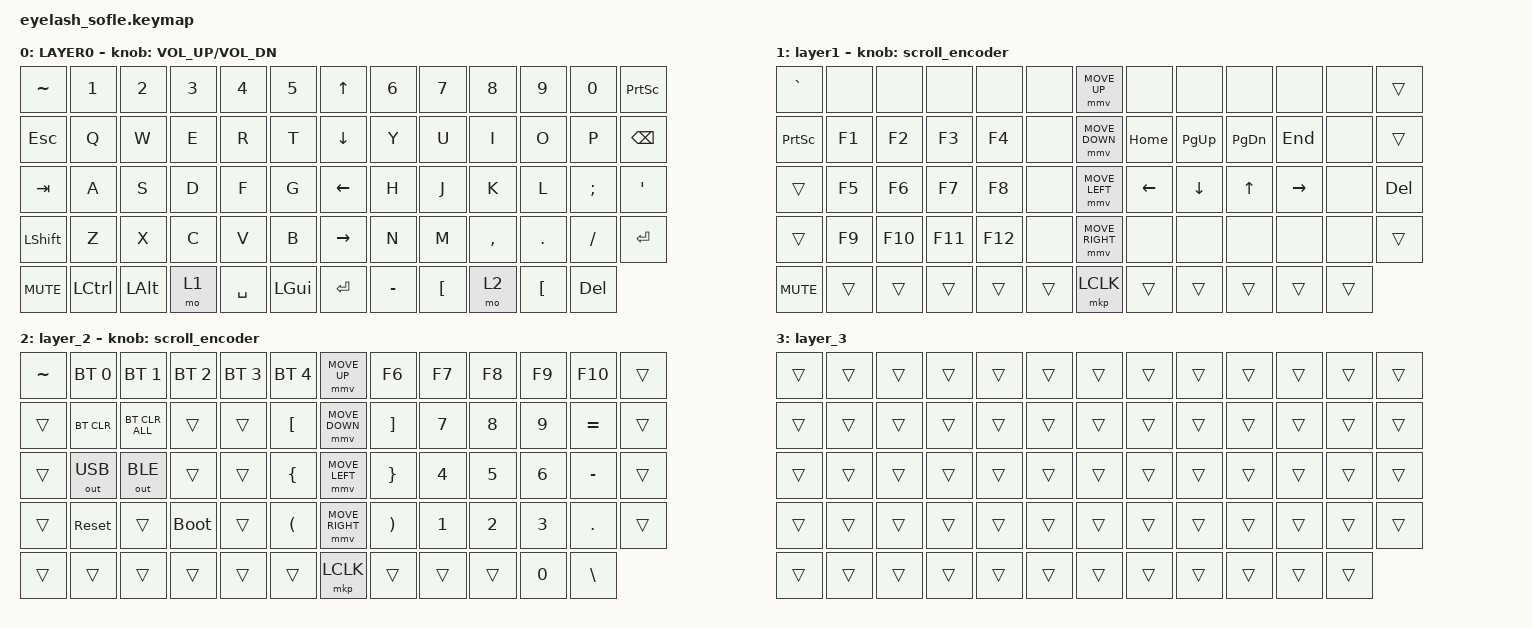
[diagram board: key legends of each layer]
#define ZMK_POINTING_DEFAULT_MOVE_VAL 1200  // 600
#define ZMK_POINTING_DEFAULT_SCRL_VAL 25   // 10

#include <input/processors.dtsi>
#include <zephyr/dt-bindings/input/input-event-codes.h>
#include <behaviors.dtsi>
#include <dt-bindings/zmk/bt.h>
#include <dt-bindings/zmk/keys.h>
#include <dt-bindings/zmk/outputs.h>
#include <dt-bindings/zmk/pointing.h>

&mmv_input_listener { input-processors = <&zip_xy_scaler 2 1>; };

&msc_input_listener { input-processors = <&zip_scroll_scaler 2 1>; };

&msc {
    acceleration-exponent = <1>;      // 0
    time-to-max-speed-ms = <100>;       // 300
    delay-ms = <0>;                   // 0
};

&mmv {
    time-to-max-speed-ms = <500>;
    acceleration-exponent = <1>;
    trigger-period-ms = <16>;
};

/ {
    scroll_encoder: scroll_encoder {
        compatible = "zmk,behavior-sensor-rotate";
        #sensor-binding-cells = <0>;
        bindings = <&msc SCRL_DOWN>, <&msc SCRL_UP>;

        tap-ms = <100>;
    };

    behaviors {
    };

    keymap {
        compatible = "zmk,keymap";

        layer0 {
            bindings = <
&kp TILDE   &kp N1     &kp N2        &kp N3  &kp N4     &kp N5          &kp UP_ARROW     &kp N6     &kp N7            &kp N8     &kp N9            &kp N0      &kp PRINTSCREEN
&kp ESC     &kp Q      &kp W         &kp E   &kp R      &kp T           &kp DOWN_ARROW   &kp Y      &kp U             &kp I      &kp O             &kp P       &kp BACKSPACE
&kp TAB     &kp A      &kp S         &kp D   &kp F      &kp G           &kp LEFT_ARROW   &kp H      &kp J             &kp K      &kp L             &kp SEMI    &kp APOS
&kp LSHFT   &kp Z      &kp X         &kp C   &kp V      &kp B           &kp RIGHT_ARROW  &kp N      &kp M             &kp COMMA  &kp DOT           &kp FSLH    &kp ENTER
&kp C_MUTE  &kp LCTRL  &kp LEFT_ALT  &mo 1   &kp SPACE  &kp LEFT_GUI    &kp ENTER        &kp MINUS  &kp LEFT_BRACKET  &mo 2      &kp LEFT_BRACKET  &kp DELETE
            >;

            sensor-bindings = <&inc_dec_kp C_VOLUME_UP C_VOL_DN>;
            display-name = "LAYER0";
        };

        layer_1 {
            bindings = <
&kp GRAVE        &none   &none    &none    &none    &none     &mmv MOVE_UP     &none     &none      &none          &none      &none   &trans
&kp PRINTSCREEN  &kp F1  &kp F2   &kp F3   &kp F4   &none     &mmv MOVE_DOWN   &kp HOME  &kp PG_UP  &kp PAGE_DOWN  &kp END    &none   &trans
&trans           &kp F5  &kp F6   &kp F7   &kp F8   &none     &mmv MOVE_LEFT   &kp LEFT  &kp DOWN   &kp UP_ARROW   &kp RIGHT  &none   &kp DEL
&trans           &kp F9  &kp F10  &kp F11  &kp F12  &none     &mmv MOVE_RIGHT  &none     &none      &none          &none      &none   &trans
&kp C_MUTE       &trans  &trans   &trans   &trans   &trans    &mkp LCLK        &trans    &trans     &trans         &trans     &trans
            >;

            display-name = "layer1";
            sensor-bindings = <&scroll_encoder>;
        };

        layer_2 {
            bindings = <
&kp TILDE  &bt BT_SEL 0  &bt BT_SEL 1    &bt BT_SEL 2  &bt BT_SEL 3  &bt BT_SEL 4            &mmv MOVE_UP     &kp F6                 &kp F7        &kp F8        &kp F9        &kp F10        &trans
&trans     &bt BT_CLR    &bt BT_CLR_ALL  &trans        &trans        &kp LEFT_BRACKET        &mmv MOVE_DOWN   &kp RIGHT_BRACKET      &kp NUMBER_7  &kp NUMBER_8  &kp NUMBER_9  &kp EQUAL      &trans
&trans     &out OUT_USB  &out OUT_BLE    &trans        &trans        &kp LEFT_BRACE          &mmv MOVE_LEFT   &kp RIGHT_BRACE        &kp NUMBER_4  &kp NUMBER_5  &kp NUMBER_6  &kp MINUS      &trans
&trans     &sys_reset    &trans          &bootloader   &trans        &kp LEFT_PARENTHESIS    &mmv MOVE_RIGHT  &kp RIGHT_PARENTHESIS  &kp NUMBER_1  &kp NUMBER_2  &kp NUMBER_3  &kp PERIOD     &trans
&trans     &trans        &trans          &trans        &trans        &trans                  &mkp LCLK        &trans                 &trans        &trans        &kp NUMBER_0  &kp BACKSLASH
            >;

            sensor-bindings = <&scroll_encoder>;
        };

        layer_3 {
            bindings = <
&trans  &trans  &trans  &trans  &trans  &trans    &trans  &trans  &trans  &trans  &trans  &trans  &trans
&trans  &trans  &trans  &trans  &trans  &trans    &trans  &trans  &trans  &trans  &trans  &trans  &trans
&trans  &trans  &trans  &trans  &trans  &trans    &trans  &trans  &trans  &trans  &trans  &trans  &trans
&trans  &trans  &trans  &trans  &trans  &trans    &trans  &trans  &trans  &trans  &trans  &trans  &trans
&trans  &trans  &trans  &trans  &trans  &trans    &trans  &trans  &trans  &trans  &trans  &trans
            >;
        };
    };
};
